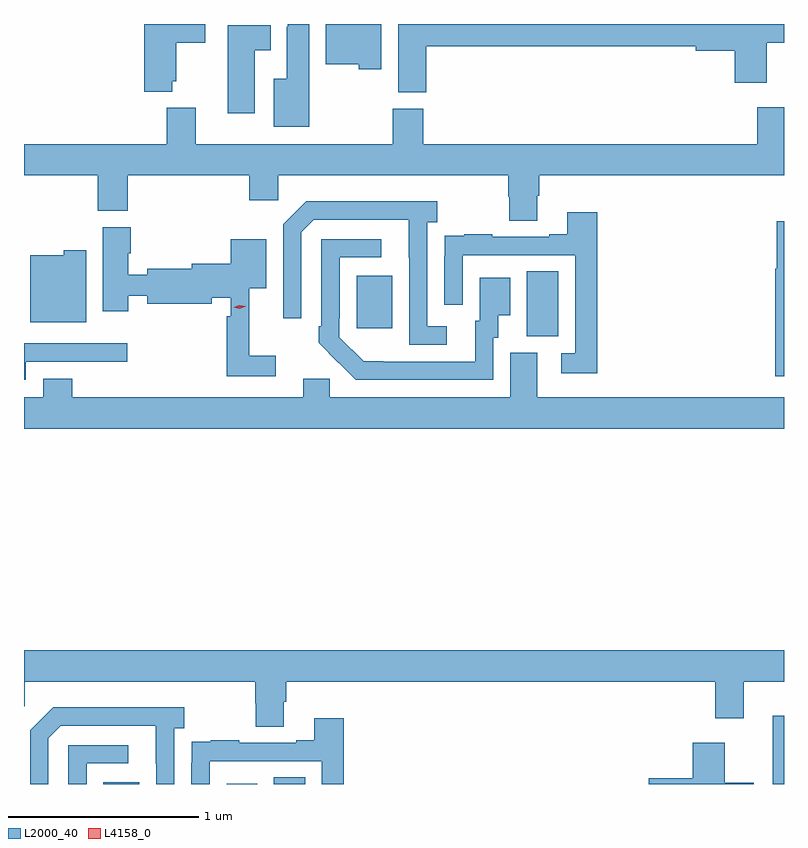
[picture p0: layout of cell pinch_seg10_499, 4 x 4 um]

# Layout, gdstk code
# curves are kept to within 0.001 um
import gdstk
lib = gdstk.Library(unit=1e-6, precision=1e-09)
def R(c, l, rs):  # rectangles x0, y0, x1, y1
    for r in rs: c.add(gdstk.rectangle(r[:2], r[2:], *l))
def P(c, l, *ps):  # polygons
    for p in ps: c.add(gdstk.Polygon(p, *l))
L2000_40 = (2000, 40)
L4158_0 = (4158, 0)

pinch_seg10_499 = lib.new_cell('pinch_seg10_499')
R(pinch_seg10_499, L2000_40, [(179.117,1270.473,179.305,1270.483), (179.765,1270.473,179.926,1270.474), (180.014,1270.473,180.178,1270.508), (182.639,1270.473,182.699,1270.831), (181.346,1272.829,181.51,1273.172), (180.449,1272.873,180.637,1273.147)])
P(pinch_seg10_499, L2000_40, [(180.58,1274.473),(180.287,1274.473),(180.287,1274.261),(180.462,1274.261),(180.462,1274.234),(180.58,1274.234)],
  [(180.815,1274.356),(182.234,1274.356),(182.234,1274.333),(182.441,1274.333),(182.441,1274.163),(182.608,1274.163),(182.608,1274.374),(182.699,1274.374),(182.699,1274.473),(180.668,1274.473),(180.668,1274.113),(180.815,1274.113)],
  [(179.478,1274.171),(179.5,1274.171),(179.5,1274.374),(179.653,1274.374),(179.653,1274.473),(179.333,1274.473),(179.333,1274.117),(179.478,1274.117)],
  [(180.199,1274.473),(180.087,1274.473),(180.087,1274.459),(180.083,1274.459),(180.083,1274.185),(180.014,1274.185),(180.014,1273.931),(180.199,1273.931)],
  [(179.914,1274.336),(179.998,1274.336),(179.998,1274.467),(179.771,1274.467),(179.771,1274.004),(179.914,1274.004)],
  [(181.399,1273.57),(181.412,1273.57),(181.412,1273.676),(182.699,1273.676),(182.699,1274.035),(182.558,1274.035),(182.558,1273.84),(180.8,1273.84),(180.8,1274.028),(180.64,1274.028),(180.64,1273.84),(179.602,1273.84),(179.602,1274.032),(179.45,1274.032),(179.45,1273.84),(178.699,1273.84),(178.699,1273.676),(179.086,1273.676),(179.086,1273.489),(179.246,1273.489),(179.246,1273.676),(179.885,1273.676),(179.885,1273.545),(180.036,1273.545),(180.036,1273.676),(181.247,1273.676),(181.247,1273.563),(181.252,1273.563),(181.252,1273.438),(181.399,1273.438)],
  [(180.925,1272.882),(180.822,1272.882),(180.822,1273.43),(180.874,1273.43),(180.874,1273.54),(180.184,1273.54),(180.063,1273.419),(180.063,1272.924),(180.159,1272.924),(180.159,1273.377),(180.225,1273.443),(180.725,1273.443),(180.726,1272.786),(180.925,1272.786)],
  [(181.715,1273.483),(181.559,1273.483),(181.559,1273.366),(181.463,1273.366),(181.463,1273.353),(181.163,1273.353),(181.163,1273.366),(181.015,1273.366),(181.015,1273.359),(180.913,1273.359),(180.913,1273.25),(180.912,1273.25),(180.912,1272.996),(181.008,1272.996),(181.008,1273.257),(181.599,1273.257),(181.599,1272.741),(181.527,1272.741),(181.527,1272.636),(181.715,1272.636)],
  [(182.699,1273.435),(182.66,1273.435),(182.66,1273.186),(182.653,1273.186),(182.653,1272.618),(182.699,1272.618)],
  [(180.025,1272.727),(179.885,1272.727),(179.885,1273.082),(179.974,1273.082),(179.974,1273.339),(179.786,1273.339),(179.786,1273.21),(179.582,1273.21),(179.582,1273.184),(179.348,1273.184),(179.348,1273.153),(179.248,1273.153),(179.248,1273.267),(179.261,1273.267),(179.261,1273.404),(179.114,1273.404),(179.114,1272.96),(179.248,1272.96),(179.248,1273.042),(179.348,1273.042),(179.348,1273.001),(179.688,1273.001),(179.688,1273.031),(179.787,1273.031),(179.787,1272.935),(179.767,1272.935),(179.767,1272.618),(180.025,1272.618)],
  [(181.17,1272.822),(181.195,1272.822),(181.195,1272.941),(181.258,1272.941),(181.258,1273.138),(181.097,1273.138),(181.097,1272.912),(181.073,1272.912),(181.073,1272.696),(180.486,1272.697),(180.357,1272.825),(180.357,1272.925),(180.36,1272.925),(180.36,1273.245),(180.58,1273.245),(180.58,1273.341),(180.264,1273.341),(180.264,1272.883),(180.249,1272.883),(180.249,1272.795),(180.446,1272.6),(181.17,1272.6)],
  [(179.026,1273.282),(178.908,1273.282),(178.908,1273.255),(178.733,1273.255),(178.733,1272.902),(179.026,1272.902)],
  [(178.707,1272.696),(179.242,1272.696),(179.242,1272.792),(178.699,1272.792),(178.699,1272.6),(178.707,1272.6)],
  [(182.699,1272.508),(181.399,1272.508),(181.399,1272.744),(181.259,1272.744),(181.259,1272.508),(180.309,1272.508),(180.309,1272.606),(180.17,1272.606),(180.17,1272.508),(178.952,1272.508),(178.952,1272.607),(178.799,1272.607),(178.799,1272.508),(178.699,1272.508),(178.699,1272.344),(182.699,1272.344)],
  [(180.067,1270.906),(180.08,1270.906),(180.08,1271.012),(182.336,1271.012),(182.336,1270.818),(182.488,1270.818),(182.488,1271.012),(182.699,1271.012),(182.699,1271.176),(178.699,1271.176),(178.699,1270.881),(178.704,1270.881),(178.704,1271.012),(179.915,1271.012),(179.915,1270.899),(179.92,1270.899),(179.92,1270.774),(180.067,1270.774)],
  [(178.827,1270.713),(178.893,1270.779),(179.393,1270.779),(179.394,1270.473),(179.49,1270.473),(179.49,1270.766),(179.542,1270.766),(179.542,1270.876),(178.852,1270.876),(178.731,1270.755),(178.731,1270.473),(178.827,1270.473)],
  [(179.676,1270.593),(180.267,1270.593),(180.267,1270.473),(180.383,1270.473),(180.383,1270.819),(180.227,1270.819),(180.227,1270.702),(180.131,1270.702),(180.131,1270.689),(179.831,1270.689),(179.831,1270.702),(179.683,1270.702),(179.683,1270.695),(179.581,1270.695),(179.581,1270.586),(179.58,1270.586),(179.58,1270.473),(179.676,1270.473)],
  [(182.539,1270.479),(182.386,1270.479),(182.386,1270.69),(182.219,1270.69),(182.219,1270.502),(181.986,1270.502),(181.986,1270.473),(182.539,1270.473)],
  [(179.028,1270.581),(179.248,1270.581),(179.248,1270.677),(178.932,1270.677),(178.932,1270.473),(179.028,1270.473)])
P(pinch_seg10_499, L4158_0, [(179.834,1272.974),(179.802,1272.982),(179.802,1272.982),(179.802,1272.982),(179.833,1272.994),(179.865,1272.987),(179.865,1272.987),(179.865,1272.987)])

lib.write_gds('pinch_seg10_499.gds')
